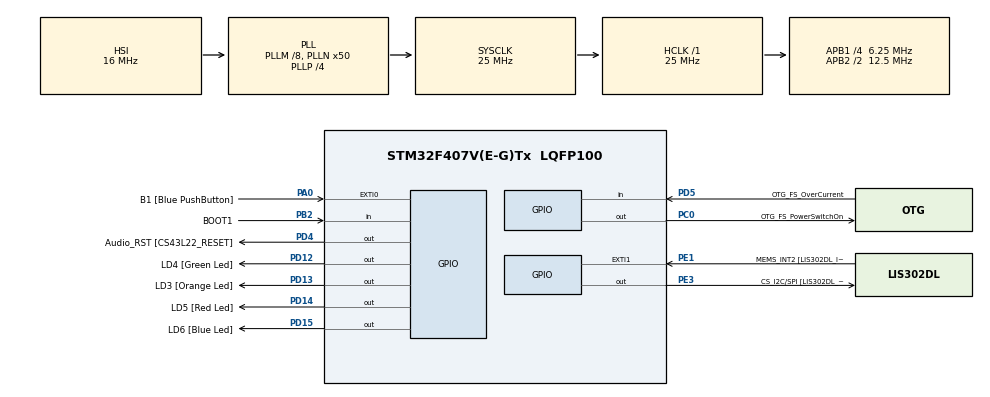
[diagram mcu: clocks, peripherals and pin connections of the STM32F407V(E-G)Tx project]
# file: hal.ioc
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Mcu.Family=STM32F4
Mcu.Name=STM32F407V(E-G)Tx
Mcu.Package=LQFP100
NVIC.PriorityGroup=NVIC_PRIORITYGROUP_4
NVIC.TIM6_DAC_IRQn=true\:0\:0\:false\:false\:true\:false\:true\:true
NVIC.TimeBase=TIM6_DAC_IRQn
NVIC.TimeBaseIP=TIM6
PA0-WKUP.GPIO_Label=B1 [Blue PushButton]
PA0-WKUP.Signal=GPXTI0
PA10.GPIO_Label=OTG_FS_ID
PA10.GPIO_Mode=GPIO_MODE_AF_PP
PA10.GPIO_PuPd=GPIO_NOPULL
PA10.GPIO_Speed=GPIO_SPEED_FREQ_LOW
PA10.Signal=USB_OTG_FS_ID
PA11.GPIO_Label=OTG_FS_DM
PA11.GPIO_Mode=GPIO_MODE_AF_PP
PA11.GPIO_PuPd=GPIO_NOPULL
PA11.GPIO_Speed=GPIO_SPEED_FREQ_LOW
PA11.Signal=USB_OTG_FS_DM
PA12.GPIO_Label=OTG_FS_DP
PA12.GPIO_Mode=GPIO_MODE_AF_PP
PA12.GPIO_PuPd=GPIO_NOPULL
PA12.GPIO_Speed=GPIO_SPEED_FREQ_LOW
PA12.Signal=USB_OTG_FS_DP
PA13.GPIO_Label=SWDIO
PA13.Signal=SYS_JTMS-SWDIO
PA14.GPIO_Label=SWCLK
PA14.Signal=SYS_JTCK-SWCLK
PA4.GPIO_Label=I2S3_WS [CS43L22_LRCK]
PA4.GPIO_Mode=GPIO_MODE_AF_PP
PA4.GPIO_PuPd=GPIO_NOPULL
PA4.GPIO_Speed=GPIO_SPEED_FREQ_LOW
PA4.Signal=I2S3_WS
PA5.GPIO_Label=SPI1_SCK [LIS302DL_SCL/SPC]
PA5.GPIO_Mode=GPIO_MODE_AF_PP
PA5.GPIO_PuPd=GPIO_NOPULL
PA5.GPIO_Speed=GPIO_SPEED_FREQ_LOW
PA5.Signal=SPI1_SCK
PA6.GPIO_Label=SPI1_MISO [LIS302DL_SDO]
PA6.GPIO_Mode=GPIO_MODE_AF_PP
PA6.GPIO_PuPd=GPIO_NOPULL
PA6.GPIO_Speed=GPIO_SPEED_FREQ_LOW
PA6.Signal=SPI1_MISO
PA7.GPIO_Label=SPI1_MOSI [LIS302DL_SDA/SDI/SDO]
PA7.GPIO_Mode=GPIO_MODE_AF_PP
PA7.GPIO_PuPd=GPIO_NOPULL
PA7.GPIO_Speed=GPIO_SPEED_FREQ_LOW
PA7.Signal=SPI1_MOSI
PA9.GPIO_Label=VBUS_FS
PA9.GPIO_Mode=GPIO_MODE_INPUT
PA9.GPIO_PuPd=GPIO_NOPULL
PA9.Signal=USB_OTG_FS_VBUS
PB10.GPIO_Label=CLK_IN [MP45DT02_CLK]
PB10.GPIO_Mode=GPIO_MODE_AF_PP
PB10.GPIO_PuPd=GPIO_NOPULL
PB10.GPIO_Speed=GPIO_SPEED_FREQ_LOW
PB10.Signal=I2S2_CK
PB2.GPIO_Label=BOOT1
PB2.GPIO_Mode=GPIO_MODE_INPUT
PB2.GPIO_PuPd=GPIO_NOPULL
PB2.Signal=GPIO_Input
PB3.GPIO_Label=SWO
PB3.Signal=SYS_JTDO-SWO
PB6.GPIO_Label=Audio_SCL [CS43L22_SCL]
PB6.GPIO_Mode=GPIO_MODE_AF_OD
PB6.GPIO_PuPd=GPIO_NOPULL
PB6.GPIO_Speed=GPIO_SPEED_FREQ_LOW
PB6.Signal=I2C1_SCL
PB9.GPIO_Label=Audio_SDA [CS43L22_SDA]
PB9.GPIO_Mode=GPIO_MODE_AF_OD
PB9.GPIO_PuPd=GPIO_NOPULL
PB9.GPIO_Speed=GPIO_SPEED_FREQ_LOW
PB9.Signal=I2C1_SDA
PC0.GPIO_Label=OTG_FS_PowerSwitchOn
PC0.GPIO_PuPd=GPIO_NOPULL
PC0.GPIO_Speed=GPIO_SPEED_FREQ_LOW
PC0.PinState=GPIO_PIN_SET
PC0.Signal=GPIO_Output
PC10.GPIO_Label=I2S3_SCK [CS43L22_SCLK]
PC10.GPIO_Mode=GPIO_MODE_AF_PP
PC10.GPIO_PuPd=GPIO_NOPULL
PC10.GPIO_Speed=GPIO_SPEED_FREQ_LOW
PC10.Signal=I2S3_CK
PC12.GPIO_Label=I2S3_SD [CS43L22_SDIN]
PC12.GPIO_Mode=GPIO_MODE_AF_PP
PC12.GPIO_PuPd=GPIO_NOPULL
PC12.GPIO_Speed=GPIO_SPEED_FREQ_LOW
PC12.Signal=I2S3_SD
PC14-OSC32_IN.GPIO_Label=PC14-OSC32_IN
PC14-OSC32_IN.Signal=RCC_OSC32_IN
PC15-OSC32_OUT.GPIO_Label=PC15-OSC32_OUT
PC15-OSC32_OUT.Signal=RCC_OSC32_OUT
PC3.GPIO_Label=PDM_OUT [MP45DT02_DOUT]
PC3.GPIO_Mode=GPIO_MODE_AF_PP
PC3.GPIO_PuPd=GPIO_NOPULL
PC3.GPIO_Speed=GPIO_SPEED_FREQ_LOW
PC3.Signal=I2S2_SD
PC7.GPIO_Label=I2S3_MCK [CS43L22_MCLK]
PC7.GPIO_Mode=GPIO_MODE_AF_PP
PC7.GPIO_PuPd=GPIO_NOPULL
PC7.GPIO_Speed=GPIO_SPEED_FREQ_LOW
PC7.Signal=I2S3_MCK
PD12.GPIO_Label=LD4 [Green Led]
PD12.GPIO_PuPd=GPIO_NOPULL
PD12.GPIO_Speed=GPIO_SPEED_FREQ_LOW
PD12.Signal=GPIO_Output
PD13.GPIO_Label=LD3 [Orange Led]
PD13.GPIO_PuPd=GPIO_NOPULL
PD13.GPIO_Speed=GPIO_SPEED_FREQ_LOW
PD13.Signal=GPIO_Output
PD14.GPIO_Label=LD5 [Red Led]
PD14.GPIO_PuPd=GPIO_NOPULL
PD14.GPIO_Speed=GPIO_SPEED_FREQ_LOW
PD14.Signal=GPIO_Output
PD15.GPIO_Label=LD6 [Blue Led]
PD15.GPIO_PuPd=GPIO_NOPULL
PD15.GPIO_Speed=GPIO_SPEED_FREQ_LOW
PD15.Signal=GPIO_Output
PD4.GPIO_Label=Audio_RST [CS43L22_RESET]
PD4.GPIO_PuPd=GPIO_NOPULL
PD4.GPIO_Speed=GPIO_SPEED_FREQ_LOW
PD4.Signal=GPIO_Output
PD5.GPIO_Label=OTG_FS_OverCurrent
PD5.GPIO_Mode=GPIO_MODE_INPUT
PD5.GPIO_PuPd=GPIO_NOPULL
PD5.Signal=GPIO_Input
PE1.GPIO_Label=MEMS_INT2 [LIS302DL_INT2]
PE1.GPIO_ModeDefaultEXTI=GPIO_MODE_EVT_RISING
PE1.GPIO_PuPd=GPIO_NOPULL
PE1.Signal=GPXTI1
PE3.GPIO_Label=CS_I2C/SPI [LIS302DL_CS_I2C/SPI]
PE3.GPIO_PuPd=GPIO_NOPULL
PE3.GPIO_Speed=GPIO_SPEED_FREQ_LOW
PE3.Signal=GPIO_Output
PH0-OSC_IN.GPIO_Label=PH0-OSC_IN
PH0-OSC_IN.Signal=RCC_OSC_IN
PH1-OSC_OUT.GPIO_Label=PH1-OSC_OUT
PH1-OSC_OUT.Signal=RCC_OSC_OUT
ProjectManager.HeapSize=0x200
ProjectManager.StackSize=0x400
ProjectManager.TargetToolchain=STM32CubeIDE
RCC.48MHZClocksFreq_Value=14285714.285714285
RCC.AHBFreq_Value=25000000
RCC.APB1CLKDivider=RCC_HCLK_DIV4
RCC.APB1Freq_Value=6250000
RCC.APB1TimFreq_Value=12500000
RCC.APB2CLKDivider=RCC_HCLK_DIV2
RCC.APB2Freq_Value=12500000
RCC.APB2TimFreq_Value=25000000
RCC.CortexFreq_Value=25000000
RCC.HCLKFreq_Value=25000000
RCC.HSE_VALUE=8000000
RCC.HSI_VALUE=16000000
RCC.LSE_VALUE=32768
RCC.PLLM=8
RCC.PLLN=50
RCC.PLLP=RCC_PLLP_DIV4
RCC.PLLQ=7
RCC.SYSCLKFreq_VALUE=25000000
RCC.SYSCLKSource=RCC_SYSCLKSOURCE_PLLCLK
RCC.VCOOutputFreq_Value=100000000
VP_SYS_VS_tim6.Mode=TIM6
board=STM32F407G-DISC1

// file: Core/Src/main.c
/* USER CODE BEGIN Header */
/**
  ******************************************************************************
  * @file           : main.c
  * @brief          : Main program body
  ******************************************************************************
  * @attention
  *
  * Copyright (c) 2026 STMicroelectronics.
  * All rights reserved.
  *
  * This software is licensed under terms that can be found in the LICENSE file
  * in the root directory of this software component.
  * If no LICENSE file comes with this software, it is provided AS-IS.
  *
  ******************************************************************************
  */
/* USER CODE END Header */
#include "main.h"

/* USER CODE BEGIN Includes */
#include<stdio.h>
#include "FreeRTOS.h"
#include "task.h"
/* USER CODE END Includes */

/* USER CODE BEGIN PV */
#define DWT_CTRL  (*(volatile uint32_t*)0xE0001000)
/* USER CODE END PV */

void SystemClock_Config(void);
static void MX_GPIO_Init(void);
/* USER CODE BEGIN PFP */

static void task1_handler(void* parameters);

static void task2_handler(void* parameters);
/* USER CODE END PFP */

int main(void)
{

  /* USER CODE BEGIN 1 */
TaskHandle_t task1_handle;
TaskHandle_t task2_handle;

BaseType_t status;
  /* USER CODE END 1 */

  /* MCU Configuration--------------------------------------------------------*/

  /* Reset of all peripherals, Initializes the Flash interface and the Systick. */
  HAL_Init();

  /* Configure the system clock */
  SystemClock_Config();

  /* Initialize all configured peripherals */
  MX_GPIO_Init();
  /* USER CODE BEGIN 2 */

//Enable CyCCNT counter
  DWT_CTRL |= (1 << 0);

  SEGGER_SYSVIEW_Conf();
  SEGGER_SYSVIEW_Start();

status = xTaskCreate(task1_handler,"Task-1",200,"Hello world from Task-1",2,&task1_handle);

configASSERT(status == pdPASS);

status = xTaskCreate(task2_handler,"Task-2",200,"Hello world from Task-2",2,&task2_handle);

configASSERT(status == pdPASS);

//start the freeRTOS scheduler
vTaskStartScheduler();

//if the control comes here, then the launch of the scheduler is failed due to insufficient memory in heap

/* USER CODE END 2 */

  /* Infinite loop */
  while (1)
  {

  }
}

void SystemClock_Config(void)
{
  RCC_OscInitTypeDef RCC_OscInitStruct = {0};
  RCC_ClkInitTypeDef RCC_ClkInitStruct = {0};

  /** Configure the main internal regulator output voltage
  */
  __HAL_RCC_PWR_CLK_ENABLE();
  __HAL_PWR_VOLTAGESCALING_CONFIG(PWR_REGULATOR_VOLTAGE_SCALE1);

  /** Initializes the RCC Oscillators according to the specified parameters
  * in the RCC_OscInitTypeDef structure.
  */
  RCC_OscInitStruct.OscillatorType = RCC_OSCILLATORTYPE_HSI;
  RCC_OscInitStruct.HSIState = RCC_HSI_ON;
  RCC_OscInitStruct.HSICalibrationValue = RCC_HSICALIBRATION_DEFAULT;
  RCC_OscInitStruct.PLL.PLLState = RCC_PLL_ON;
  RCC_OscInitStruct.PLL.PLLSource = RCC_PLLSOURCE_HSI;
  RCC_OscInitStruct.PLL.PLLM = 8;
  RCC_OscInitStruct.PLL.PLLN = 50;
  RCC_OscInitStruct.PLL.PLLP = RCC_PLLP_DIV4;
  RCC_OscInitStruct.PLL.PLLQ = 7;
  if (HAL_RCC_OscConfig(&RCC_OscInitStruct) != HAL_OK)
  {
    Error_Handler();
  }

  /** Initializes the CPU, AHB and APB buses clocks
  */
  RCC_ClkInitStruct.ClockType = RCC_CLOCKTYPE_HCLK|RCC_CLOCKTYPE_SYSCLK
                              |RCC_CLOCKTYPE_PCLK1|RCC_CLOCKTYPE_PCLK2;
  RCC_ClkInitStruct.SYSCLKSource = RCC_SYSCLKSOURCE_PLLCLK;
  RCC_ClkInitStruct.AHBCLKDivider = RCC_SYSCLK_DIV1;
  RCC_ClkInitStruct.APB1CLKDivider = RCC_HCLK_DIV4;
  RCC_ClkInitStruct.APB2CLKDivider = RCC_HCLK_DIV2;

  if (HAL_RCC_ClockConfig(&RCC_ClkInitStruct, FLASH_LATENCY_0) != HAL_OK)
  {
    Error_Handler();
  }
}

static void MX_GPIO_Init(void)
{
  GPIO_InitTypeDef GPIO_InitStruct = {0};

  /* GPIO Ports Clock Enable */
  __HAL_RCC_GPIOE_CLK_ENABLE();
  __HAL_RCC_GPIOC_CLK_ENABLE();
  __HAL_RCC_GPIOH_CLK_ENABLE();
  __HAL_RCC_GPIOA_CLK_ENABLE();
  __HAL_RCC_GPIOB_CLK_ENABLE();
  __HAL_RCC_GPIOD_CLK_ENABLE();

  /*Configure GPIO pin Output Level */
  HAL_GPIO_WritePin(CS_I2C_SPI_GPIO_Port, CS_I2C_SPI_Pin, GPIO_PIN_RESET);

  /*Configure GPIO pin Output Level */
  HAL_GPIO_WritePin(OTG_FS_PowerSwitchOn_GPIO_Port, OTG_FS_PowerSwitchOn_Pin, GPIO_PIN_SET);

  /*Configure GPIO pin Output Level */
  HAL_GPIO_WritePin(GPIOD, LD4_Pin|LD3_Pin|LD5_Pin|LD6_Pin
                          |Audio_RST_Pin, GPIO_PIN_RESET);

  /*Configure GPIO pin : CS_I2C_SPI_Pin */
  GPIO_InitStruct.Pin = CS_I2C_SPI_Pin;
  GPIO_InitStruct.Mode = GPIO_MODE_OUTPUT_PP;
  GPIO_InitStruct.Pull = GPIO_NOPULL;
  GPIO_InitStruct.Speed = GPIO_SPEED_FREQ_LOW;
  HAL_GPIO_Init(CS_I2C_SPI_GPIO_Port, &GPIO_InitStruct);

  /*Configure GPIO pin : OTG_FS_PowerSwitchOn_Pin */
  GPIO_InitStruct.Pin = OTG_FS_PowerSwitchOn_Pin;
  GPIO_InitStruct.Mode = GPIO_MODE_OUTPUT_PP;
  GPIO_InitStruct.Pull = GPIO_NOPULL;
  GPIO_InitStruct.Speed = GPIO_SPEED_FREQ_LOW;
  HAL_GPIO_Init(OTG_FS_PowerSwitchOn_GPIO_Port, &GPIO_InitStruct);

  /*Configure GPIO pin : PDM_OUT_Pin */
  GPIO_InitStruct.Pin = PDM_OUT_Pin;
  GPIO_InitStruct.Mode = GPIO_MODE_AF_PP;
  GPIO_InitStruct.Pull = GPIO_NOPULL;
  GPIO_InitStruct.Speed = GPIO_SPEED_FREQ_LOW;
  GPIO_InitStruct.Alternate = GPIO_AF5_SPI2;
  HAL_GPIO_Init(PDM_OUT_GPIO_Port, &GPIO_InitStruct);

  /*Configure GPIO pin : B1_Pin */
  GPIO_InitStruct.Pin = B1_Pin;
  GPIO_InitStruct.Mode = GPIO_MODE_IT_RISING;
  GPIO_InitStruct.Pull = GPIO_NOPULL;
  HAL_GPIO_Init(B1_GPIO_Port, &GPIO_InitStruct);

  /*Configure GPIO pin : I2S3_WS_Pin */
  GPIO_InitStruct.Pin = I2S3_WS_Pin;
  GPIO_InitStruct.Mode = GPIO_MODE_AF_PP;
  GPIO_InitStruct.Pull = GPIO_NOPULL;
  GPIO_InitStruct.Speed = GPIO_SPEED_FREQ_LOW;
  GPIO_InitStruct.Alternate = GPIO_AF6_SPI3;
  HAL_GPIO_Init(I2S3_WS_GPIO_Port, &GPIO_InitStruct);

  /*Configure GPIO pins : SPI1_SCK_Pin SPI1_MISO_Pin SPI1_MOSI_Pin */
  GPIO_InitStruct.Pin = SPI1_SCK_Pin|SPI1_MISO_Pin|SPI1_MOSI_Pin;
  GPIO_InitStruct.Mode = GPIO_MODE_AF_PP;
  GPIO_InitStruct.Pull = GPIO_NOPULL;
  GPIO_InitStruct.Speed = GPIO_SPEED_FREQ_LOW;
  GPIO_InitStruct.Alternate = GPIO_AF5_SPI1;
  HAL_GPIO_Init(GPIOA, &GPIO_InitStruct);

  /*Configure GPIO pin : BOOT1_Pin */
  GPIO_InitStruct.Pin = BOOT1_Pin;
  GPIO_InitStruct.Mode = GPIO_MODE_INPUT;
  GPIO_InitStruct.Pull = GPIO_NOPULL;
  HAL_GPIO_Init(BOOT1_GPIO_Port, &GPIO_InitStruct);

  /*Configure GPIO pin : CLK_IN_Pin */
  GPIO_InitStruct.Pin = CLK_IN_Pin;
  GPIO_InitStruct.Mode = GPIO_MODE_AF_PP;
  GPIO_InitStruct.Pull = GPIO_NOPULL;
  GPIO_InitStruct.Speed = GPIO_SPEED_FREQ_LOW;
  GPIO_InitStruct.Alternate = GPIO_AF5_SPI2;
  HAL_GPIO_Init(CLK_IN_GPIO_Port, &GPIO_InitStruct);

  /*Configure GPIO pins : LD4_Pin LD3_Pin LD5_Pin LD6_Pin
                           Audio_RST_Pin */
  GPIO_InitStruct.Pin = LD4_Pin|LD3_Pin|LD5_Pin|LD6_Pin
                          |Audio_RST_Pin;
  GPIO_InitStruct.Mode = GPIO_MODE_OUTPUT_PP;
  GPIO_InitStruct.Pull = GPIO_NOPULL;
  GPIO_InitStruct.Speed = GPIO_SPEED_FREQ_LOW;
  HAL_GPIO_Init(GPIOD, &GPIO_InitStruct);

  /*Configure GPIO pins : I2S3_MCK_Pin I2S3_SCK_Pin I2S3_SD_Pin */
  GPIO_InitStruct.Pin = I2S3_MCK_Pin|I2S3_SCK_Pin|I2S3_SD_Pin;
  GPIO_InitStruct.Mode = GPIO_MODE_AF_PP;
  GPIO_InitStruct.Pull = GPIO_NOPULL;
  GPIO_InitStruct.Speed = GPIO_SPEED_FREQ_LOW;
  GPIO_InitStruct.Alternate = GPIO_AF6_SPI3;
  HAL_GPIO_Init(GPIOC, &GPIO_InitStruct);

  /*Configure GPIO pin : VBUS_FS_Pin */
  GPIO_InitStruct.Pin = VBUS_FS_Pin;
  GPIO_InitStruct.Mode = GPIO_MODE_INPUT;
  GPIO_InitStruct.Pull = GPIO_NOPULL;
  HAL_GPIO_Init(VBUS_FS_GPIO_Port, &GPIO_InitStruct);

  /*Configure GPIO pins : OTG_FS_ID_Pin OTG_FS_DM_Pin OTG_FS_DP_Pin */
  GPIO_InitStruct.Pin = OTG_FS_ID_Pin|OTG_FS_DM_Pin|OTG_FS_DP_Pin;
  GPIO_InitStruct.Mode = GPIO_MODE_AF_PP;
  GPIO_InitStruct.Pull = GPIO_NOPULL;
  GPIO_InitStruct.Speed = GPIO_SPEED_FREQ_LOW;
  GPIO_InitStruct.Alternate = GPIO_AF10_OTG_FS;
  HAL_GPIO_Init(GPIOA, &GPIO_InitStruct);

  /*Configure GPIO pin : OTG_FS_OverCurrent_Pin */
  GPIO_InitStruct.Pin = OTG_FS_OverCurrent_Pin;
  GPIO_InitStruct.Mode = GPIO_MODE_INPUT;
  GPIO_InitStruct.Pull = GPIO_NOPULL;
  HAL_GPIO_Init(OTG_FS_OverCurrent_GPIO_Port, &GPIO_InitStruct);

  /*Configure GPIO pins : Audio_SCL_Pin Audio_SDA_Pin */
  GPIO_InitStruct.Pin = Audio_SCL_Pin|Audio_SDA_Pin;
  GPIO_InitStruct.Mode = GPIO_MODE_AF_OD;
  GPIO_InitStruct.Pull = GPIO_NOPULL;
  GPIO_InitStruct.Speed = GPIO_SPEED_FREQ_LOW;
  GPIO_InitStruct.Alternate = GPIO_AF4_I2C1;
  HAL_GPIO_Init(GPIOB, &GPIO_InitStruct);

  /*Configure GPIO pin : MEMS_INT2_Pin */
  GPIO_InitStruct.Pin = MEMS_INT2_Pin;
  GPIO_InitStruct.Mode = GPIO_MODE_EVT_RISING;
  GPIO_InitStruct.Pull = GPIO_NOPULL;
  HAL_GPIO_Init(MEMS_INT2_GPIO_Port, &GPIO_InitStruct);

}

/* USER CODE BEGIN 4 */

static void task1_handler(void* parameters)
{
	char  msg[100];
while(1){
	snprintf(msg,100,"%s\n",(char*)parameters);
	SEGGER_SYSVIEW_PrintfTarget(msg);
	taskYIELD();
}
}

static void task2_handler(void* parameters)
{
	char  msg[100];
while(1){
	snprintf(msg,100,"%s\n",(char*)parameters);
	SEGGER_SYSVIEW_PrintfTarget(msg);
	taskYIELD();
}
}
/* USER CODE END 4 */

void HAL_TIM_PeriodElapsedCallback(TIM_HandleTypeDef *htim)
{
  if (htim->Instance == TIM6)
  {
    HAL_IncTick();
  }
}

void Error_Handler(void)
{
  __disable_irq();
  while (1)
  {
  }
}
